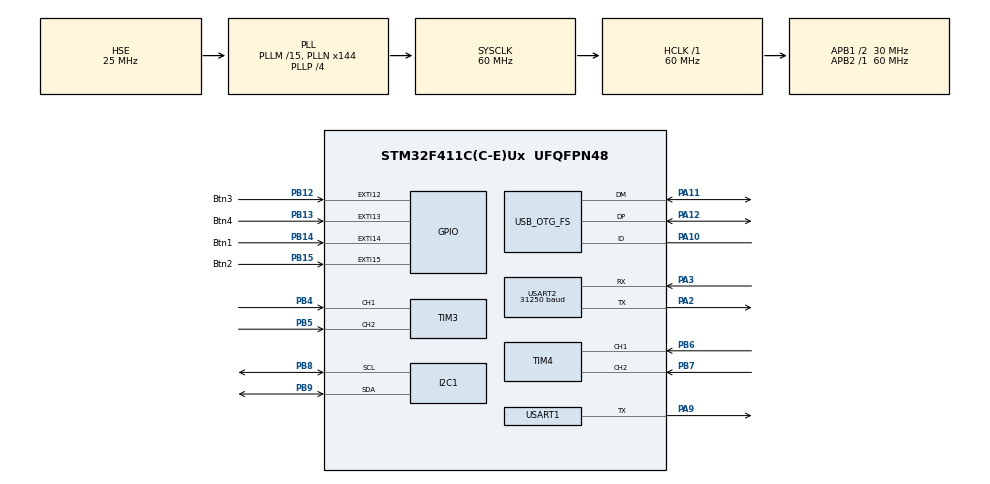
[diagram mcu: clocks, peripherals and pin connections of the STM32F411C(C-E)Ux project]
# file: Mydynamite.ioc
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FREERTOS.Tasks01=midi_send,48,128,StartMidiSend,Default,NULL,Dynamic,NULL,NULL;other_tasks,16,128,StartOtherTasks,Default,NULL,Dynamic,NULL,NULL
FREERTOS.configUSE_NEWLIB_REENTRANT=1
Mcu.Family=STM32F4
Mcu.Name=STM32F411C(C-E)Ux
Mcu.Package=UFQFPN48
NVIC.PriorityGroup=NVIC_PRIORITYGROUP_4
NVIC.TIM1_UP_TIM10_IRQn=true\:15\:0\:false\:false\:true\:false\:false\:true\:true
NVIC.TIM2_IRQn=true\:5\:0\:false\:false\:true\:true\:true\:true\:true
NVIC.TIM3_IRQn=true\:5\:0\:false\:false\:true\:true\:true\:true\:true
NVIC.TIM4_IRQn=true\:5\:0\:false\:false\:true\:true\:true\:true\:true
NVIC.TimeBase=TIM1_UP_TIM10_IRQn
NVIC.TimeBaseIP=TIM1
NVIC.USART1_IRQn=true\:5\:0\:false\:false\:true\:true\:true\:true\:true
NVIC.USART2_IRQn=true\:5\:0\:false\:false\:true\:true\:true\:true\:true
PA10.Mode=OTG/Dual_Role_Device
PA10.Signal=USB_OTG_FS_ID
PA11.Mode=OTG/Dual_Role_Device
PA11.Signal=USB_OTG_FS_DM
PA12.Mode=OTG/Dual_Role_Device
PA12.Signal=USB_OTG_FS_DP
PA13.Mode=Serial_Wire
PA13.Signal=SYS_JTMS-SWDIO
PA14.Mode=Serial_Wire
PA14.Signal=SYS_JTCK-SWCLK
PA2.GPIO_Speed=GPIO_SPEED_FREQ_HIGH
PA2.Mode=Asynchronous
PA2.Signal=USART2_TX
PA3.GPIO_Speed=GPIO_SPEED_FREQ_HIGH
PA3.Mode=Asynchronous
PA3.Signal=USART2_RX
PA9.Mode=Half_duplex(single_wire_mode)
PA9.Signal=USART1_TX
PB12.GPIO_Label=Btn3
PB12.GPIO_ModeDefaultEXTI=GPIO_MODE_EVT_FALLING
PB12.GPIO_PuPd=GPIO_PULLUP
PB12.Signal=GPXTI12
PB13.GPIO_Label=Btn4
PB13.GPIO_ModeDefaultEXTI=GPIO_MODE_EVT_FALLING
PB13.GPIO_PuPd=GPIO_PULLUP
PB13.Signal=GPXTI13
PB14.GPIO_Label=Btn1
PB14.GPIO_ModeDefaultEXTI=GPIO_MODE_EVT_FALLING
PB14.GPIO_PuPd=GPIO_PULLUP
PB14.Signal=GPXTI14
PB15.GPIO_Label=Btn2
PB15.GPIO_ModeDefaultEXTI=GPIO_MODE_EVT_FALLING
PB15.GPIO_PuPd=GPIO_PULLUP
PB15.Signal=GPXTI15
PB3.Signal=I2C2_SDA
PB4.GPIO_PuPd=GPIO_PULLUP
PB4.GPIO_Speed=GPIO_SPEED_FREQ_HIGH
PB4.Signal=S_TIM3_CH1
PB5.GPIO_PuPd=GPIO_PULLUP
PB5.GPIO_Speed=GPIO_SPEED_FREQ_HIGH
PB5.Signal=S_TIM3_CH2
PB6.GPIO_PuPd=GPIO_PULLUP
PB6.GPIO_Speed=GPIO_SPEED_FREQ_HIGH
PB6.Signal=S_TIM4_CH1
PB7.GPIO_PuPd=GPIO_PULLUP
PB7.GPIO_Speed=GPIO_SPEED_FREQ_HIGH
PB7.Signal=S_TIM4_CH2
PB8.Mode=I2C
PB8.Signal=I2C1_SCL
PB9.Mode=I2C
PB9.Signal=I2C1_SDA
PH0\ -\ OSC_IN.Mode=HSE-External-Oscillator
PH0\ -\ OSC_IN.Signal=RCC_OSC_IN
PH1\ -\ OSC_OUT.Mode=HSE-External-Oscillator
PH1\ -\ OSC_OUT.Signal=RCC_OSC_OUT
ProjectManager.HeapSize=0x200
ProjectManager.StackSize=0x400
ProjectManager.TargetToolchain=STM32CubeIDE
RCC.48MHZClocksFreq_Value=48000000
RCC.AHBFreq_Value=60000000
RCC.APB1CLKDivider=RCC_HCLK_DIV2
RCC.APB1Freq_Value=30000000
RCC.APB1TimFreq_Value=60000000
RCC.APB2Freq_Value=60000000
RCC.APB2TimFreq_Value=60000000
RCC.CortexFreq_Value=60000000
RCC.HCLKFreq_Value=60000000
RCC.HSE_VALUE=25000000
RCC.HSI_VALUE=16000000
RCC.LSE_VALUE=32768
RCC.PLLM=15
RCC.PLLN=144
RCC.PLLP=RCC_PLLP_DIV4
RCC.PLLQ=5
RCC.SYSCLKFreq_VALUE=60000000
RCC.SYSCLKSource=RCC_SYSCLKSOURCE_PLLCLK
RCC.VCOOutputFreq_Value=240000000
SH.S_TIM3_CH1.0=TIM3_CH1,Encoder_Interface
SH.S_TIM3_CH2.0=TIM3_CH2,Encoder_Interface
SH.S_TIM4_CH1.0=TIM4_CH1,Encoder_Interface
SH.S_TIM4_CH2.0=TIM4_CH2,Encoder_Interface
TIM2.Period=4160
TIM2.Prescaler=600-1
TIM3.ClockDivision=TIM_CLOCKDIVISION_DIV4
TIM3.CounterMode=TIM_COUNTERMODE_UP
TIM3.EncoderMode=TIM_ENCODERMODE_TI12
TIM3.IC1Polarity=TIM_ICPOLARITY_FALLING
TIM3.IC2Polarity=TIM_ICPOLARITY_FALLING
TIM4.ClockDivision=TIM_CLOCKDIVISION_DIV4
TIM4.CounterMode=TIM_COUNTERMODE_UP
TIM4.EncoderMode=TIM_ENCODERMODE_TI12
TIM4.IC1Polarity=TIM_ICPOLARITY_FALLING
TIM4.IC2Polarity=TIM_ICPOLARITY_FALLING
USART1.BaudRate=31250
USART1.Mode=MODE_TX
USART1.VirtualMode=VM_ASYNC
USART2.BaudRate=31250
USART2.Parity=PARITY_NONE
USART2.VirtualMode=VM_ASYNC
VP_FREERTOS_VS_CMSIS_V2.Mode=CMSIS_V2
VP_SYS_VS_tim1.Mode=TIM1
VP_TIM2_VS_ClockSourceINT.Mode=Internal
board=custom

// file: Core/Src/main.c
/* USER CODE BEGIN Header */
/* USER CODE END Header */
#include "main.h"
#include "cmsis_os.h"

/* USER CODE BEGIN Includes */
#include <string.h>
#include <stdio.h>
#include <stdlib.h>
#include <stdbool.h>

/* USER CODE END Includes */

/* USER CODE BEGIN PD */
#include "screen_driver.h"
#include "screen_driver_fonts.h"

#include "menu.h"
#include "midi_tempo.h"
#include "midi_modify.h"
#include "saving.h"
#include "settings.h"
#include "utils.h"

/* USER CODE END PD */

I2C_HandleTypeDef hi2c1;

TIM_HandleTypeDef htim2;
TIM_HandleTypeDef htim3;
TIM_HandleTypeDef htim4;

UART_HandleTypeDef huart1;
UART_HandleTypeDef huart2;

/* Definitions for midi_core */
osThreadId_t midi_coreHandle;
const osThreadAttr_t midi_core_attributes = {
  .name = "midi_core",
  .stack_size = 128 * 4,
  .priority = (osPriority_t) osPriorityRealtime,
};
/* Definitions for medium_tasks */
osThreadId_t medium_tasksHandle;
const osThreadAttr_t medium_tasks_attributes = {
  .name = "medium_tasks",
  .stack_size = 128 * 4,
  .priority = (osPriority_t) osPriorityAboveNormal,
};
/* Definitions for display_update */
osThreadId_t display_updateHandle;
const osThreadAttr_t display_update_attributes = {
  .name = "display_update",
  .stack_size = 128 * 4,
  .priority = (osPriority_t) osPriorityBelowNormal,
};
/* USER CODE BEGIN PV */
//Romagnetics code
//structs containing the informaiton for each mode
midi_tempo_data_struct midi_tempo_data;
midi_modify_data_struct midi_modify_data;
midi_transpose_data_struct midi_transpose_data;
settings_data_struct settings_data;

uint8_t current_menu;

midi_modify_circular_buffer midi_modify_buff = {0};
uint8_t midi_uart_rx_byte;

static UART_HandleTypeDef *UART_list[2];

/* USER CODE END PV */

void SystemClock_Config(void);
static void MX_GPIO_Init(void);
static void MX_TIM3_Init(void);
static void MX_TIM4_Init(void);
static void MX_USART2_UART_Init(void);
static void MX_TIM2_Init(void);
static void MX_USART1_UART_Init(void);
static void MX_I2C1_Init(void);
static void MX_USB_OTG_FS_USB_Init(void);
void MidiCore(void *argument);
void MediumTasks(void *argument);
void DisplayUpdate(void *argument);

int main(void)
{

  /* MCU Configuration--------------------------------------------------------*/

  /* Reset of all peripherals, Initializes the Flash interface and the Systick. */
  HAL_Init();

  /* Configure the system clock */
  SystemClock_Config();

  /* Initialize all configured peripherals */
  MX_GPIO_Init();
  MX_TIM3_Init();
  MX_TIM4_Init();
  MX_USART2_UART_Init();
  MX_TIM2_Init();
  MX_USART1_UART_Init();
  MX_I2C1_Init();
  MX_USB_OTG_FS_USB_Init();
  /* USER CODE BEGIN 2 */
  //Romagnetics code
  screen_driver_Init();
  load_settings();
  current_menu = settings_data.start_menu;
  screen_driver_SetContrast(settings_data.brightness);

  HAL_TIM_Encoder_Start(&htim3, TIM_CHANNEL_ALL);
  HAL_TIM_Encoder_Start(&htim4, TIM_CHANNEL_ALL);

  //Setting up both encoders
  __HAL_TIM_SET_COUNTER(&htim3, ENCODER_CENTER);
  __HAL_TIM_SET_COUNTER(&htim4, ENCODER_CENTER);

  HAL_UART_Receive_IT(&huart2, &midi_uart_rx_byte, 1);

  /* USER CODE END 2 */

  /* Init scheduler */
  osKernelInitialize();

  /* Create the thread(s) */
  /* creation of midi_core */
  midi_coreHandle = osThreadNew(MidiCore, NULL, &midi_core_attributes);

  /* creation of medium_tasks */
  medium_tasksHandle = osThreadNew(MediumTasks, NULL, &medium_tasks_attributes);

  /* creation of display_update */
  display_updateHandle = osThreadNew(DisplayUpdate, NULL, &display_update_attributes);

  /* Start scheduler */
  osKernelStart();

  /* We should never get here as control is now taken by the scheduler */

  /* Infinite loop */

}

void SystemClock_Config(void)
{
  RCC_OscInitTypeDef RCC_OscInitStruct = {0};
  RCC_ClkInitTypeDef RCC_ClkInitStruct = {0};

  /** Configure the main internal regulator output voltage
  */
  __HAL_RCC_PWR_CLK_ENABLE();
  __HAL_PWR_VOLTAGESCALING_CONFIG(PWR_REGULATOR_VOLTAGE_SCALE1);

  /** Initializes the RCC Oscillators according to the specified parameters
  * in the RCC_OscInitTypeDef structure.
  */
  RCC_OscInitStruct.OscillatorType = RCC_OSCILLATORTYPE_HSE;
  RCC_OscInitStruct.HSEState = RCC_HSE_ON;
  RCC_OscInitStruct.PLL.PLLState = RCC_PLL_ON;
  RCC_OscInitStruct.PLL.PLLSource = RCC_PLLSOURCE_HSE;
  RCC_OscInitStruct.PLL.PLLM = 15;
  RCC_OscInitStruct.PLL.PLLN = 144;
  RCC_OscInitStruct.PLL.PLLP = RCC_PLLP_DIV4;
  RCC_OscInitStruct.PLL.PLLQ = 5;
  if (HAL_RCC_OscConfig(&RCC_OscInitStruct) != HAL_OK)
  {
    Error_Handler();
  }

  /** Initializes the CPU, AHB and APB buses clocks
  */
  RCC_ClkInitStruct.ClockType = RCC_CLOCKTYPE_HCLK|RCC_CLOCKTYPE_SYSCLK
                              |RCC_CLOCKTYPE_PCLK1|RCC_CLOCKTYPE_PCLK2;
  RCC_ClkInitStruct.SYSCLKSource = RCC_SYSCLKSOURCE_PLLCLK;
  RCC_ClkInitStruct.AHBCLKDivider = RCC_SYSCLK_DIV1;
  RCC_ClkInitStruct.APB1CLKDivider = RCC_HCLK_DIV2;
  RCC_ClkInitStruct.APB2CLKDivider = RCC_HCLK_DIV1;

  if (HAL_RCC_ClockConfig(&RCC_ClkInitStruct, FLASH_LATENCY_1) != HAL_OK)
  {
    Error_Handler();
  }
}

static void MX_I2C1_Init(void)
{

  hi2c1.Instance = I2C1;
  hi2c1.Init.ClockSpeed = 100000;
  hi2c1.Init.DutyCycle = I2C_DUTYCYCLE_2;
  hi2c1.Init.OwnAddress1 = 0;
  hi2c1.Init.AddressingMode = I2C_ADDRESSINGMODE_7BIT;
  hi2c1.Init.DualAddressMode = I2C_DUALADDRESS_DISABLE;
  hi2c1.Init.OwnAddress2 = 0;
  hi2c1.Init.GeneralCallMode = I2C_GENERALCALL_DISABLE;
  hi2c1.Init.NoStretchMode = I2C_NOSTRETCH_DISABLE;
  if (HAL_I2C_Init(&hi2c1) != HAL_OK)
  {
    Error_Handler();
  }

}

static void MX_TIM2_Init(void)
{

  TIM_ClockConfigTypeDef sClockSourceConfig = {0};
  TIM_MasterConfigTypeDef sMasterConfig = {0};

  htim2.Instance = TIM2;
  htim2.Init.Prescaler = 600-1;
  htim2.Init.CounterMode = TIM_COUNTERMODE_UP;
  htim2.Init.Period = 4160;
  htim2.Init.ClockDivision = TIM_CLOCKDIVISION_DIV1;
  htim2.Init.AutoReloadPreload = TIM_AUTORELOAD_PRELOAD_DISABLE;
  if (HAL_TIM_Base_Init(&htim2) != HAL_OK)
  {
    Error_Handler();
  }
  sClockSourceConfig.ClockSource = TIM_CLOCKSOURCE_INTERNAL;
  if (HAL_TIM_ConfigClockSource(&htim2, &sClockSourceConfig) != HAL_OK)
  {
    Error_Handler();
  }
  sMasterConfig.MasterOutputTrigger = TIM_TRGO_RESET;
  sMasterConfig.MasterSlaveMode = TIM_MASTERSLAVEMODE_DISABLE;
  if (HAL_TIMEx_MasterConfigSynchronization(&htim2, &sMasterConfig) != HAL_OK)
  {
    Error_Handler();
  }

}

static void MX_TIM3_Init(void)
{

  TIM_Encoder_InitTypeDef sConfig = {0};
  TIM_MasterConfigTypeDef sMasterConfig = {0};

  htim3.Instance = TIM3;
  htim3.Init.Prescaler = 0;
  htim3.Init.CounterMode = TIM_COUNTERMODE_UP;
  htim3.Init.Period = 65535;
  htim3.Init.ClockDivision = TIM_CLOCKDIVISION_DIV1;
  htim3.Init.AutoReloadPreload = TIM_AUTORELOAD_PRELOAD_DISABLE;
  sConfig.EncoderMode = TIM_ENCODERMODE_TI12;
  sConfig.IC1Polarity = TIM_ICPOLARITY_RISING;
  sConfig.IC1Selection = TIM_ICSELECTION_DIRECTTI;
  sConfig.IC1Prescaler = TIM_ICPSC_DIV1;
  sConfig.IC1Filter = 10;
  sConfig.IC2Polarity = TIM_ICPOLARITY_RISING;
  sConfig.IC2Selection = TIM_ICSELECTION_DIRECTTI;
  sConfig.IC2Prescaler = TIM_ICPSC_DIV1;
  sConfig.IC2Filter = 10;
  if (HAL_TIM_Encoder_Init(&htim3, &sConfig) != HAL_OK)
  {
    Error_Handler();
  }
  sMasterConfig.MasterOutputTrigger = TIM_TRGO_RESET;
  sMasterConfig.MasterSlaveMode = TIM_MASTERSLAVEMODE_DISABLE;
  if (HAL_TIMEx_MasterConfigSynchronization(&htim3, &sMasterConfig) != HAL_OK)
  {
    Error_Handler();
  }

}

static void MX_TIM4_Init(void)
{

  TIM_Encoder_InitTypeDef sConfig = {0};
  TIM_MasterConfigTypeDef sMasterConfig = {0};

  htim4.Instance = TIM4;
  htim4.Init.Prescaler = 0;
  htim4.Init.CounterMode = TIM_COUNTERMODE_UP;
  htim4.Init.Period = 65535;
  htim4.Init.ClockDivision = TIM_CLOCKDIVISION_DIV1;
  htim4.Init.AutoReloadPreload = TIM_AUTORELOAD_PRELOAD_DISABLE;
  sConfig.EncoderMode = TIM_ENCODERMODE_TI12;
  sConfig.IC1Polarity = TIM_ICPOLARITY_RISING;
  sConfig.IC1Selection = TIM_ICSELECTION_DIRECTTI;
  sConfig.IC1Prescaler = TIM_ICPSC_DIV1;
  sConfig.IC1Filter = 10;
  sConfig.IC2Polarity = TIM_ICPOLARITY_RISING;
  sConfig.IC2Selection = TIM_ICSELECTION_DIRECTTI;
  sConfig.IC2Prescaler = TIM_ICPSC_DIV1;
  sConfig.IC2Filter = 10;
  if (HAL_TIM_Encoder_Init(&htim4, &sConfig) != HAL_OK)
  {
    Error_Handler();
  }
  sMasterConfig.MasterOutputTrigger = TIM_TRGO_RESET;
  sMasterConfig.MasterSlaveMode = TIM_MASTERSLAVEMODE_DISABLE;
  if (HAL_TIMEx_MasterConfigSynchronization(&htim4, &sMasterConfig) != HAL_OK)
  {
    Error_Handler();
  }

}

static void MX_USART1_UART_Init(void)
{

  huart1.Instance = USART1;
  huart1.Init.BaudRate = 31250;
  huart1.Init.WordLength = UART_WORDLENGTH_8B;
  huart1.Init.StopBits = UART_STOPBITS_1;
  huart1.Init.Parity = UART_PARITY_NONE;
  huart1.Init.Mode = UART_MODE_TX;
  huart1.Init.HwFlowCtl = UART_HWCONTROL_NONE;
  huart1.Init.OverSampling = UART_OVERSAMPLING_16;
  if (HAL_HalfDuplex_Init(&huart1) != HAL_OK)
  {
    Error_Handler();
  }

}

static void MX_USART2_UART_Init(void)
{

  huart2.Instance = USART2;
  huart2.Init.BaudRate = 31250;
  huart2.Init.WordLength = UART_WORDLENGTH_8B;
  huart2.Init.StopBits = UART_STOPBITS_1;
  huart2.Init.Parity = UART_PARITY_NONE;
  huart2.Init.Mode = UART_MODE_TX_RX;
  huart2.Init.HwFlowCtl = UART_HWCONTROL_NONE;
  huart2.Init.OverSampling = UART_OVERSAMPLING_16;
  if (HAL_UART_Init(&huart2) != HAL_OK)
  {
    Error_Handler();
  }

}

static void MX_USB_OTG_FS_USB_Init(void)
{

}

static void MX_GPIO_Init(void)
{
  GPIO_InitTypeDef GPIO_InitStruct = {0};

  /* GPIO Ports Clock Enable */
  __HAL_RCC_GPIOH_CLK_ENABLE();
  __HAL_RCC_GPIOA_CLK_ENABLE();
  __HAL_RCC_GPIOB_CLK_ENABLE();

  /*Configure GPIO pins : Btn3_Pin Btn4_Pin Btn1_Pin Btn2_Pin */
  GPIO_InitStruct.Pin = Btn3_Pin|Btn4_Pin|Btn1_Pin|Btn2_Pin;
  GPIO_InitStruct.Mode = GPIO_MODE_EVT_FALLING;
  GPIO_InitStruct.Pull = GPIO_PULLUP;
  HAL_GPIO_Init(GPIOB, &GPIO_InitStruct);

  /*Configure GPIO pins : PA10 PA11 PA12 */
  GPIO_InitStruct.Pin = GPIO_PIN_10|GPIO_PIN_11|GPIO_PIN_12;
  GPIO_InitStruct.Mode = GPIO_MODE_AF_PP;
  GPIO_InitStruct.Pull = GPIO_NOPULL;
  GPIO_InitStruct.Speed = GPIO_SPEED_FREQ_VERY_HIGH;
  GPIO_InitStruct.Alternate = GPIO_AF10_OTG_FS;
  HAL_GPIO_Init(GPIOA, &GPIO_InitStruct);

  /*Configure GPIO pin : PB3 */
  GPIO_InitStruct.Pin = GPIO_PIN_3;
  GPIO_InitStruct.Mode = GPIO_MODE_AF_OD;
  GPIO_InitStruct.Pull = GPIO_NOPULL;
  GPIO_InitStruct.Speed = GPIO_SPEED_FREQ_VERY_HIGH;
  GPIO_InitStruct.Alternate = GPIO_AF9_I2C2;
  HAL_GPIO_Init(GPIOB, &GPIO_InitStruct);

}

/* USER CODE BEGIN 4 */
//Romagnetics code

void HAL_UART_RxCpltCallback(UART_HandleTypeDef *huart){

  	if(huart->Instance == USART2){
  		midi_buffer_push(midi_uart_rx_byte);
  		HAL_UART_Receive_IT(&huart2, &midi_uart_rx_byte, 1);
  	}

}

/* USER CODE END 4 */

void MidiCore(void *argument)
{
  /* USER CODE BEGIN 5 */

  /* Infinite loop */
  for(;;)
  {
  //Reading the incoming midi and giving it back
  calculate_incoming_midi(&midi_modify_data);

  osDelay(5);
  }
  /* USER CODE END 5 */
}

void MediumTasks(void *argument)
{
  /* USER CODE BEGIN MediumTasks */
  /* Infinite loop */
  for(;;)
  {

	 //Romagnetics code
	static uint8_t old_menu = 99;
	menu_change_check(&current_menu);

	switch(current_menu) {
		case MIDI_TEMPO:
			midi_tempo_update_menu(&htim3, &htim4, &midi_tempo_data, &old_menu);
			break;

		case MIDI_MODIFY:
			midi_modify_update_menu(&htim3, &htim4, &midi_modify_data, &old_menu);
			break;

		case MIDI_TRANSPOSE:
			midi_transpose_update_menu(&htim3, &htim4, &midi_transpose_data, &old_menu);
			break;

		case SETTINGS:
			settings_update_menu(&htim3, &htim4, &old_menu);
			break;

		default:
			// Optional: handle unknown menu case
			break;
	}

	old_menu = current_menu;

	//Button3 (Start/Stop)
	uint8_t OldBtn3State;
	uint8_t Btn3State = HAL_GPIO_ReadPin(GPIOB, Btn3_Pin);
	if(Btn3State == 0)
	 {
		 //Debouncing
		 osDelay(10);
		 Btn3State = HAL_GPIO_ReadPin(GPIOB, Btn3_Pin);
		 if(Btn3State == 0 && OldBtn3State == 1)
		 {
			 switch (current_menu) {
			 	case MIDI_TEMPO:
			 		list_of_UART_to_send_to(midi_tempo_data.send_channels, UART_list);
			 		mt_start_stop(UART_list, &htim2, &midi_tempo_data);
			 		break;

			 	case MIDI_MODIFY:
			 		midi_modify_data.currently_sending = (midi_modify_data.currently_sending == 0) ? 1 : 0;
			 		osThreadFlagsSet(display_updateHandle, 0x02);
			 		break;

			 	case MIDI_TRANSPOSE:
			 		midi_transpose_data.currently_sending = (midi_transpose_data.currently_sending == 0) ? 1 : 0;
			 		osThreadFlagsSet(display_updateHandle, 0x07);
			 		break;

			 	default:
			 		break;
			 }
		 }
	}
	OldBtn3State = Btn3State;

	//Let other tasks update
	osDelay(10);

  }
  /* USER CODE END MediumTasks */
}

void DisplayUpdate(void *argument)
{
  /* USER CODE BEGIN DisplayUpdate */
  /* Infinite loop */
  for(;;)
  {
	  uint32_t displayFlags = osThreadFlagsWait(0x0F, osFlagsWaitAny, osWaitForever);

	  switch (current_menu) {
	  	case MIDI_TEMPO:
	  		if (displayFlags & 0x01) {
	  			screen_update_midi_tempo(&midi_tempo_data);
	  		}
	  		break;

	  	case MIDI_MODIFY:
	  		if (displayFlags & 0x02) {
	  			screen_update_midi_modify(&midi_modify_data);
	  		}
	  		break;

	  	case MIDI_TRANSPOSE:
	  		if (displayFlags & 0x04) {
	  			screen_update_midi_transpose(&midi_transpose_data);
	  		}
	  		break;

	  	case SETTINGS:
	  		if (displayFlags & 0x08) {
	  			screen_update_settings();
	  		}
	  		break;

	  	default:
	  		break;
	  }
     osDelay(30);
  }
  /* USER CODE END DisplayUpdate */
}

void HAL_TIM_PeriodElapsedCallback(TIM_HandleTypeDef *htim)
{
  if (htim->Instance == TIM1)
  {
    HAL_IncTick();
  }
  /* USER CODE BEGIN Callback 1 */
  //Romagnetics code

  if (htim->Instance == TIM2) {
	//Roro make a freertos Queue and get out of the interupt
	send_midi_tempo_out(UART_list, midi_tempo_data.current_tempo);
  }

  /* USER CODE END Callback 1 */
}

void Error_Handler(void)
{
  __disable_irq();
  while (1)
  {
  }
}
